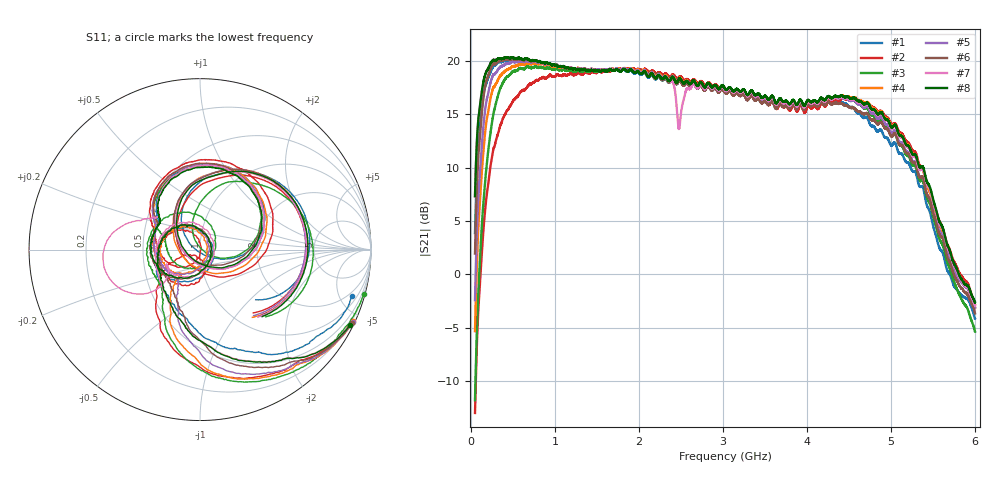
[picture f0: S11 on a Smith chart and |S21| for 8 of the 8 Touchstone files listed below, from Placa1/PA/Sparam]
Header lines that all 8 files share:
!Agilent Technologies,E8364A,US41440144,A.06.04.32
!Agilent E8364A: A.06.04.32
!Correction: S11(Full 2 Port(1,2)) S21(Full 2 Port(1,2)) S12(Full 2 Port(1,2)) S22(Full 2 Port(1,2))
!S2P File: Measurements: S11, S21, S12, S22:
# Hz S  dB  R 50
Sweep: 45 MHz to 6 GHz
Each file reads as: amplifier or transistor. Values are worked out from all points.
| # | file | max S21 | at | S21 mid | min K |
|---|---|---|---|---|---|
| 1 | PA_0ohm_out.s2p | 20.2 dB | 564.9 MHz | 17.1 dB at 3.022 GHz | 1.24 |
| 2 | PA_3.3pf_out.s2p | 19.3 dB | 1.843 GHz | 17.4 dB at 3.022 GHz | 0.51 |
| 3 | PA_10pf_out_10pf_in.s2p | 19.5 dB | 677 MHz | 17.3 dB at 3.022 GHz | 0.13 |
| 4 | PA_10pf_out_330pf_in.s2p | 19.8 dB | 771.5 MHz | 17.4 dB at 3.022 GHz | 0.78 |
| 5 | PA_15pf_out.s2p | 20.1 dB | 653.5 MHz | 17.3 dB at 3.022 GHz | 1.04 |
| 6 | PA_33pf_out.s2p | 20.2 dB | 564.9 MHz | 17.0 dB at 3.022 GHz | 1.02 |
| 7 | PA_L.s2p | 20.3 dB | 402.7 MHz | 17.3 dB at 3.022 GHz | 1.04 |
| 8 | PA_ON.s2p | 20.3 dB | 481.6 MHz | 17.4 dB at 3.022 GHz | 1.03 |
